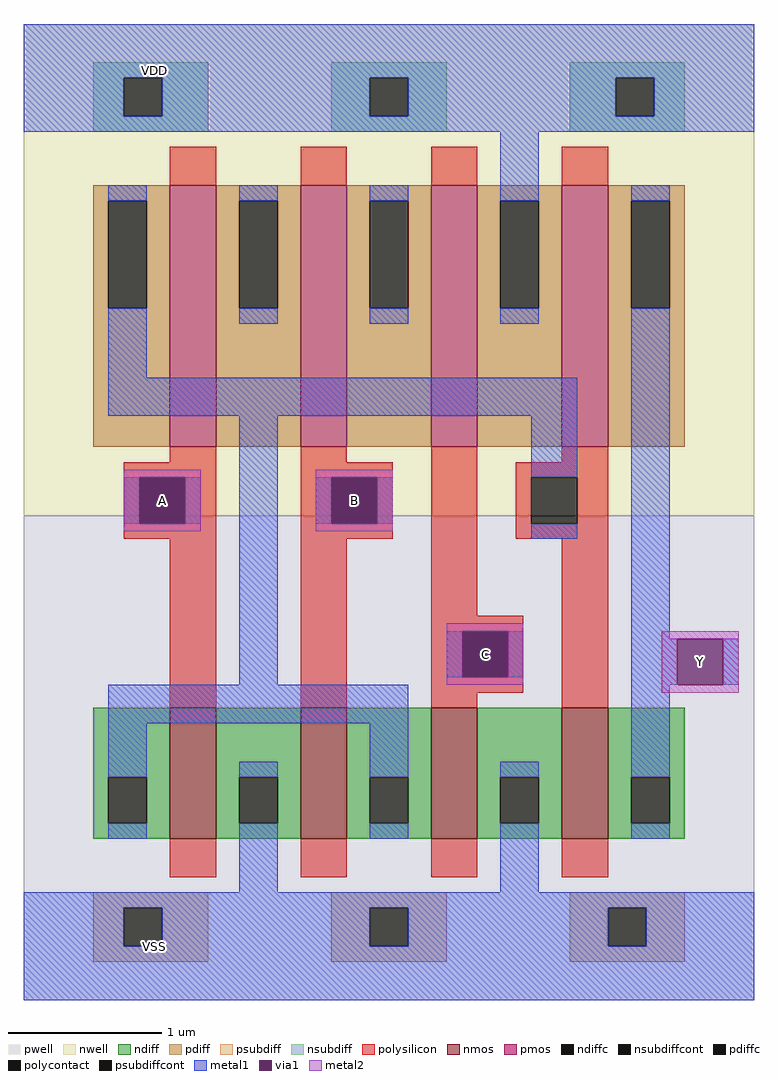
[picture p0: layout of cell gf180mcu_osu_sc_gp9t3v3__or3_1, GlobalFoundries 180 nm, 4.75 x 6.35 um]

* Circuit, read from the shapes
.subckt gf180mcu_osu_sc_gp9t3v3__or3_1 A B C VDD Y VSS
XM1 VSS A n1 VSS nfet_03v3 w=0.85u l=0.3u
XM2 n1 B VSS VSS nfet_03v3 w=0.85u l=0.3u
XM3 VSS C n1 VSS nfet_03v3 w=0.85u l=0.3u
XM4 Y n1 VSS VSS nfet_03v3 w=0.85u l=0.3u
XM5 n2 A n1 VDD pfet_03v3 w=1.7u l=0.3u
XM6 n3 B n2 VDD pfet_03v3 w=1.7u l=0.3u
XM7 VDD C n3 VDD pfet_03v3 w=1.7u l=0.3u
XM8 Y n1 VDD VDD pfet_03v3 w=1.7u l=0.3u
.ends

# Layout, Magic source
magic
tech gf180mcuD
<< nwell >>
rect 105 63 200 127
<< pwell >>
rect 105 0 200 63
<< nmos >>
rect 124 21 130 38
rect 141 21 147 38
rect 158 21 164 38
rect 175 21 181 38
<< pmos >>
rect 124 72 130 106
rect 141 72 147 106
rect 158 72 164 106
rect 175 72 181 106
<< ndiff >>
rect 114 29 124 38
rect 114 23 116 29
rect 121 23 124 29
rect 114 21 124 23
rect 130 29 141 38
rect 130 23 133 29
rect 138 23 141 29
rect 130 21 141 23
rect 147 29 158 38
rect 147 23 150 29
rect 155 23 158 29
rect 147 21 158 23
rect 164 29 175 38
rect 164 23 167 29
rect 172 23 175 29
rect 164 21 175 23
rect 181 29 191 38
rect 181 23 184 29
rect 189 23 191 29
rect 181 21 191 23
<< pdiff >>
rect 114 104 124 106
rect 114 90 116 104
rect 121 90 124 104
rect 114 72 124 90
rect 130 104 141 106
rect 130 90 133 104
rect 138 90 141 104
rect 130 72 141 90
rect 147 104 158 106
rect 147 90 150 104
rect 155 90 158 104
rect 147 72 158 90
rect 164 104 175 106
rect 164 90 167 104
rect 172 90 175 104
rect 164 72 175 90
rect 181 104 191 106
rect 181 90 184 104
rect 189 90 191 104
rect 181 72 191 90
<< ndiffc >>
rect 116 23 121 29
rect 133 23 138 29
rect 150 23 155 29
rect 167 23 172 29
rect 184 23 189 29
<< pdiffc >>
rect 116 90 121 104
rect 133 90 138 104
rect 150 90 155 104
rect 167 90 172 104
rect 184 90 189 104
<< psubdiff >>
rect 114 12 129 14
rect 114 7 118 12
rect 123 7 129 12
rect 114 5 129 7
rect 145 12 160 14
rect 145 7 150 12
rect 155 7 160 12
rect 145 5 160 7
rect 176 12 191 14
rect 176 7 181 12
rect 186 7 191 12
rect 176 5 191 7
<< nsubdiff >>
rect 114 120 129 122
rect 114 115 118 120
rect 123 115 129 120
rect 114 113 129 115
rect 145 120 160 122
rect 145 115 150 120
rect 155 115 160 120
rect 145 113 160 115
rect 176 120 191 122
rect 176 115 182 120
rect 187 115 191 120
rect 176 113 191 115
<< psubdiffcont >>
rect 118 7 123 12
rect 150 7 155 12
rect 181 7 186 12
<< nsubdiffcont >>
rect 118 115 123 120
rect 150 115 155 120
rect 182 115 187 120
<< polysilicon >>
rect 124 106 130 111
rect 141 106 147 111
rect 158 106 164 111
rect 175 106 181 111
rect 124 70 130 72
rect 118 68 130 70
rect 118 62 120 68
rect 126 62 130 68
rect 118 60 130 62
rect 124 38 130 60
rect 141 70 147 72
rect 141 68 153 70
rect 141 62 145 68
rect 151 62 153 68
rect 141 60 153 62
rect 141 38 147 60
rect 158 50 164 72
rect 175 70 181 72
rect 169 68 181 70
rect 169 62 171 68
rect 177 62 181 68
rect 169 60 181 62
rect 158 48 170 50
rect 158 42 162 48
rect 168 42 170 48
rect 158 40 170 42
rect 158 38 164 40
rect 175 38 181 60
rect 124 16 130 21
rect 141 16 147 21
rect 158 16 164 21
rect 175 16 181 21
<< polycontact >>
rect 120 62 126 68
rect 145 62 151 68
rect 171 62 177 68
rect 162 42 168 48
<< metal1 >>
rect 105 120 200 127
rect 105 115 118 120
rect 123 115 150 120
rect 155 115 182 120
rect 187 115 200 120
rect 105 113 200 115
rect 116 104 121 106
rect 116 81 121 90
rect 133 104 138 106
rect 133 88 138 90
rect 150 104 155 106
rect 150 88 155 90
rect 167 104 172 113
rect 167 88 172 90
rect 184 104 189 106
rect 116 76 177 81
rect 118 62 120 68
rect 126 62 128 68
rect 133 41 138 76
rect 171 68 177 76
rect 143 62 145 68
rect 151 62 153 68
rect 171 60 177 62
rect 160 42 162 48
rect 168 42 170 48
rect 184 47 189 90
rect 184 41 190 47
rect 196 41 198 47
rect 116 36 155 41
rect 116 29 121 36
rect 116 21 121 23
rect 133 29 138 31
rect 133 14 138 23
rect 150 29 155 36
rect 150 21 155 23
rect 167 29 172 31
rect 167 14 172 23
rect 184 29 189 41
rect 184 21 189 23
rect 105 12 200 14
rect 105 7 118 12
rect 123 7 150 12
rect 155 7 181 12
rect 186 7 200 12
rect 105 0 200 7
<< via1 >>
rect 120 62 126 68
rect 145 62 151 68
rect 162 42 168 48
rect 190 41 196 47
<< metal2 >>
rect 118 68 128 69
rect 118 62 120 68
rect 126 62 128 68
rect 118 61 128 62
rect 143 68 153 69
rect 143 62 145 68
rect 151 62 153 68
rect 143 61 153 62
rect 160 48 170 49
rect 160 42 162 48
rect 168 42 170 48
rect 160 41 170 42
rect 188 47 198 48
rect 188 41 190 47
rect 196 41 198 47
rect 188 40 198 41
<< labels >>
flabel metal2 118 61 128 69 0 FreeSans 48 0 0 0 A
port 1 nsew
flabel metal2 143 61 153 69 0 FreeSans 48 0 0 0 B
port 2 nsew
flabel metal2 160 41 170 49 0 FreeSans 48 0 0 0 C
port 3 nsew
flabel nwell 114 117 130 125 0 FreeSans 48 0 0 0 VDD
port 4 nsew
flabel metal2 188 40 198 48 0 FreeSans 48 0 0 0 Y
port 5 nsew
flabel metal1 114 3 130 11 0 FreeSans 48 0 0 0 VSS
port 6 nsew
<< properties >>
string FIXED_BBOX 105 0 200 127
<< end >>
